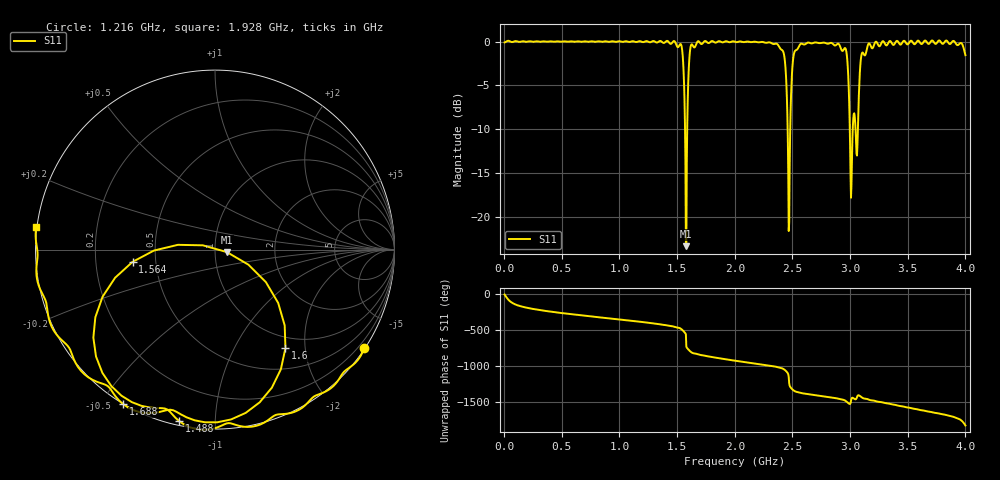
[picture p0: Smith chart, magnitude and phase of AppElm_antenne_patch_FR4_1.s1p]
! TOUCHSTONE file generated by CST MICROWAVE STUDIO
! Date and time: Tue Jun 14 14:31:11 2022
! Project name: AppElm_antenne_patch_FR4.cst
! Parameters = {L=45; W=58.5; e=0.035; h=1.6; lambda=0.190476; ls=90; w0=2.54; w1=0.847; ws=120; y0=18; y1=23.8}
! Header version: 2018
! Port assignment regex: !\s*Touchstone port\s*([0-9]+)\s*=\s*(CST MWS port|CST DS port)\s*([0-9]+|Zmin|Zmax)\s*\(\"(.*)\"\)(\s*mode\s*([0-9]+))?.*
! Touchstone port assignment:
! Touchstone port 1 = CST MWS port 1 ("")
# GHz S MA R 50
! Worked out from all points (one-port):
!   1000 points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, 4 MHz to 4 GHz, reference 50 ohm
!   lowest |S11| = -23.4 dB at 1.58 GHz (marker M1), VSWR 1.15, Z = 57.1 - j1.6 ohm
!   |S11| at or under -10 dB: 2.458 GHz to 2.481 GHz (22.52 MHz wide, 0.912 % of centre); 2.997 GHz to 3.023 GHz (25.82 MHz wide, 0.858 % of centre); 3.047 GHz to 3.068 GHz (20.52 MHz wide, 0.671 % of centre)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
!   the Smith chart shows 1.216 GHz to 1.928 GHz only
!   S11 on the Smith chart (normalised r, x): 1.216 GHz: 0.02, -3.32; 1.488 GHz: 0.02, -0.81; 1.564 GHz: 0.37, -0.06; 1.6 GHz: 0.81, -1.64; 1.688 GHz: -0.00, -0.57; 1.928 GHz: -0.00, +0.06
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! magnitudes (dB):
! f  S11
! 4 MHz  -0.1
! 504 MHz  0.0
! 1.004 GHz  0.0
! 1.216 GHz  0.0
! 1.488 GHz  -0.2
! 1.504 GHz  -0.6
! 1.544 GHz  -1.0
! 1.564 GHz  -6.7
! 1.58 GHz  -23.4
! 1.6 GHz  -3.4
! 1.62 GHz  -0.4
! 1.688 GHz  0.0
! 1.928 GHz  0.0
! 2.004 GHz  0.0
! 2.408 GHz  -1.0
! 2.436 GHz  -2.4
! 2.456 GHz  -8.4
! 2.468 GHz  -21.6
! 2.484 GHz  -8.0
! 2.504 GHz  -2.3
! 2.58 GHz  -0.2
! 2.952 GHz  -0.8
! 2.976 GHz  -2.1
! 3.004 GHz  -15.2
! 3.06 GHz  -13.0
! 3.112 GHz  -1.3
! 3.504 GHz  -0.3
! 4 GHz  -1.6
